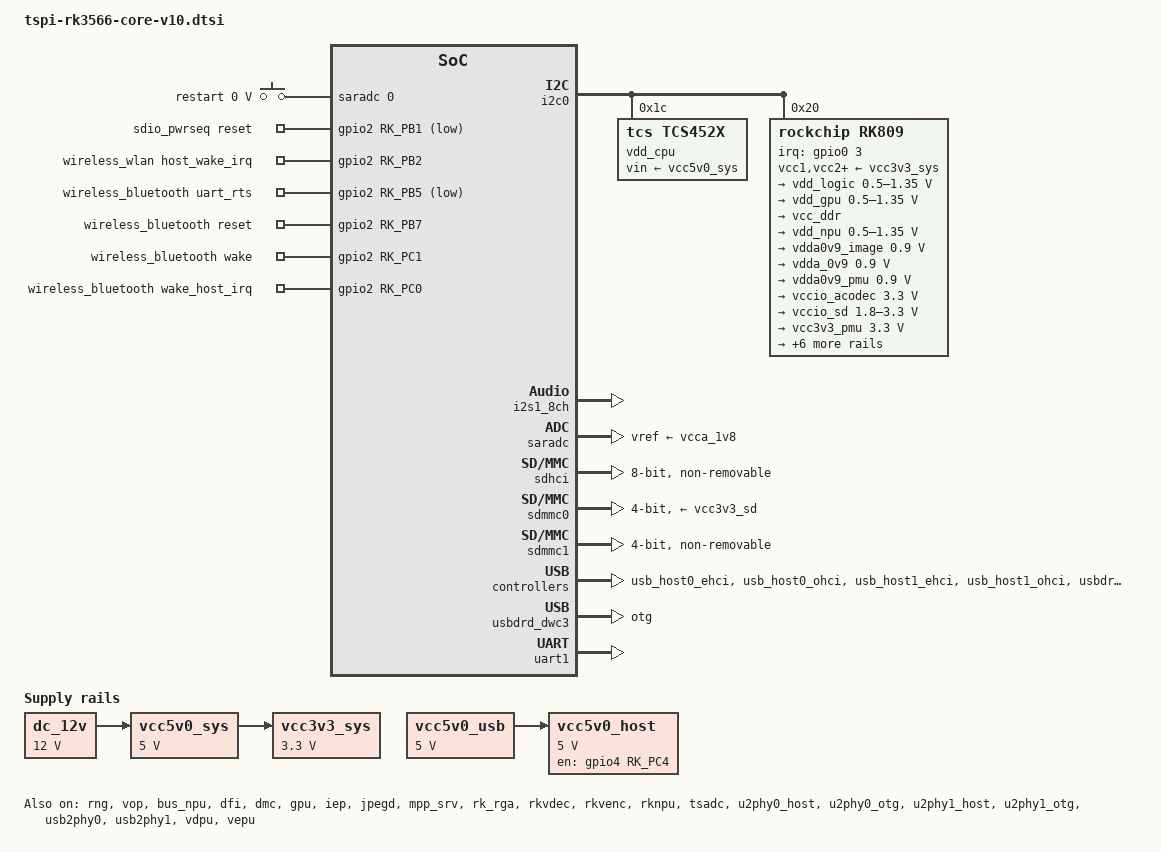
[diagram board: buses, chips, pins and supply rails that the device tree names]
// SPDX-License-Identifier: (GPL-2.0+ OR MIT)
/*
 * Copyright (c) 2020 Rockchip Electronics Co., Ltd.
 *
 */

/*********************************************************************
 *           立创开发板不靠卖板赚钱，以培养中国工程师为己任  
 *         泰山派软硬件资料与相关扩展板软硬件资料官网全部开源
 *                      开发板官网：www.lckfb.com            
 *                     立创论坛：oshwhub.com/forum           
 *            关注B站：【立创开发板】，掌握我们的最新动态！  
 *********************************************************************
 * 文件名：tspi-rk3566-core-v10.dtsi
 * 描述：
 * 更新:
 * 时间          作者           联系           说明
 * 2023-07-21   吴才成    1378913492@qq.com   v1.0.0
 *********************************************************************/
 
 
#include <dt-bindings/gpio/gpio.h>
#include <dt-bindings/pwm/pwm.h>
#include <dt-bindings/pinctrl/rockchip.h>
#include <dt-bindings/input/rk-input.h>
#include <dt-bindings/display/drm_mipi_dsi.h>
#include <dt-bindings/sensor-dev.h>

/ {
	chosen: chosen {
		bootargs = "earlycon=uart8250,mmio32,0xfe660000 console=ttyFIQ0 root=PARTUUID=614e0000-0000 rw rootwait";
	};

	fiq-debugger {
		compatible = "rockchip,fiq-debugger";
		rockchip,serial-id = <2>;
		rockchip,wake-irq = <0>;
		/* If enable uart uses irq instead of fiq */
		rockchip,irq-mode-enable = <1>;
		rockchip,baudrate = <1500000>;  /* Only 115200 and 1500000 */
		interrupts = <GIC_SPI 252 IRQ_TYPE_LEVEL_LOW>;
		pinctrl-names = "default";
		pinctrl-0 = <&uart2m0_xfer>;
		status = "okay";
	};

	debug: debug@fd904000 {
		compatible = "rockchip,debug";
		reg = <0x0 0xfd904000 0x0 0x1000>,
			<0x0 0xfd905000 0x0 0x1000>,
			<0x0 0xfd906000 0x0 0x1000>,
			<0x0 0xfd907000 0x0 0x1000>;
	};

	cspmu: cspmu@fd90c000 {
		compatible = "rockchip,cspmu";
		reg = <0x0 0xfd90c000 0x0 0x1000>,
			<0x0 0xfd90d000 0x0 0x1000>,
			<0x0 0xfd90e000 0x0 0x1000>,
			<0x0 0xfd90f000 0x0 0x1000>;
	};

	adc_keys: adc-keys {
		compatible = "adc-keys";
		io-channels = <&saradc 0>;
		io-channel-names = "buttons";
		keyup-threshold-microvolt = <1800000>;
		poll-interval = <100>;

		restart-key {
			label = "restart";
			linux,code = <KEY_RESTART>;
			press-threshold-microvolt = <108>;
		};
	};

	audiopwmout_diff: audiopwmout-diff {
		status = "disabled";
		compatible = "simple-audio-card";
		simple-audio-card,format = "i2s";
		simple-audio-card,name = "rockchip,audiopwmout-diff";
		simple-audio-card,mclk-fs = <256>;
		simple-audio-card,bitclock-master = <&master>;
		simple-audio-card,frame-master = <&master>;
		simple-audio-card,cpu {
			sound-dai = <&i2s3_2ch>;
		};
		master: simple-audio-card,codec {
			sound-dai = <&dig_acodec>;
		};
	};

	dc_12v: dc-12v {
		compatible = "regulator-fixed";
		regulator-name = "dc_12v";
		regulator-always-on;
		regulator-boot-on;
		regulator-min-microvolt = <12000000>;
		regulator-max-microvolt = <12000000>;
	};

	pdmics: dummy-codec {
		status = "disabled";
		compatible = "rockchip,dummy-codec";
		#sound-dai-cells = <0>;
	};

	pdm_mic_array: pdm-mic-array {
		status = "disabled";
		compatible = "simple-audio-card";
		simple-audio-card,name = "rockchip,pdm-mic-array";
		simple-audio-card,cpu {
			sound-dai = <&pdm>;
		};
		simple-audio-card,codec {
			sound-dai = <&pdmics>;
		};
	};

	rk809_sound: rk809-sound {
		status = "okay";
		compatible = "simple-audio-card";
		simple-audio-card,format = "i2s";
		simple-audio-card,name = "rockchip,rk809-codec";
		simple-audio-card,mclk-fs = <256>;

		simple-audio-card,cpu {
			sound-dai = <&i2s1_8ch>;
		};
		simple-audio-card,codec {
			sound-dai = <&rk809_codec>;
		};
	};

	spdif-sound {
		status = "disabled";
		compatible = "simple-audio-card";
		simple-audio-card,name = "ROCKCHIP,SPDIF";
		simple-audio-card,cpu {
				sound-dai = <&spdif_8ch>;
		};
		simple-audio-card,codec {
				sound-dai = <&spdif_out>;
		};
	};

	spdif_out: spdif-out {
			status = "disabled";
			compatible = "linux,spdif-dit";
			#sound-dai-cells = <0>;
	};

	vad_sound: vad-sound {
		status = "disabled";
		compatible = "rockchip,multicodecs-card";
		rockchip,card-name = "rockchip,rk3568-vad";
		rockchip,cpu = <&i2s1_8ch>;
		rockchip,codec = <&rk809_codec>, <&vad>;
	};

	vcc3v3_sys: vcc3v3-sys {
		compatible = "regulator-fixed";
		regulator-name = "vcc3v3_sys";
		regulator-always-on;
		regulator-boot-on;
		regulator-min-microvolt = <3300000>;
		regulator-max-microvolt = <3300000>;
		vin-supply = <&vcc5v0_sys>;
	};

	vcc5v0_sys: vcc5v0-sys {
		compatible = "regulator-fixed";
		regulator-name = "vcc5v0_sys";
		regulator-always-on;
		regulator-boot-on;
		regulator-min-microvolt = <5000000>;
		regulator-max-microvolt = <5000000>;
		vin-supply = <&dc_12v>;
	};

	vcc5v0_usb: vcc5v0-usb {
		compatible = "regulator-fixed";
		regulator-name = "vcc5v0_usb";
		regulator-always-on;
		regulator-boot-on;
		regulator-min-microvolt = <5000000>;
		regulator-max-microvolt = <5000000>;
	};

	vcc5v0_host: vcc5v0-host-regulator {
		compatible = "regulator-fixed";
		regulator-name = "vcc5v0_host";
		regulator-boot-on;
		regulator-always-on;
		regulator-min-microvolt = <5000000>;
		regulator-max-microvolt = <5000000>;
		enable-active-high;
		gpio = <&gpio4 RK_PC4 GPIO_ACTIVE_HIGH>;
		vin-supply = <&vcc5v0_usb>;
		pinctrl-names = "default";
		pinctrl-0 = <&vcc5v0_host_en>;
	};

	sdio_pwrseq: sdio-pwrseq {
		compatible = "mmc-pwrseq-simple";
		clocks = <&rk809 1>;
		clock-names = "ext_clock";
		pinctrl-names = "default";
		pinctrl-0 = <&wifi_enable_h>;

		/*
		 * On the module itself this is one of these (depending
		 * on the actual card populated):
		 * - SDIO_RESET_L_WL_REG_ON
		 * - PDN (power down when low)
		 */
		post-power-on-delay-ms = <200>;
		reset-gpios = <&gpio2 RK_PB1 GPIO_ACTIVE_LOW>;
	};

	wireless_wlan: wireless-wlan {
		compatible = "wlan-platdata";
		pinctrl-names = "default";
		pinctrl-0 = <&wifi_host_wake_irq>;
		WIFI,host_wake_irq = <&gpio2 RK_PB2 GPIO_ACTIVE_HIGH>;
		rockchip,grf = <&grf>;
		wifi_chip_type = "ap6212";
		status = "okay";
	};

	wireless_bluetooth: wireless-bluetooth {
		compatible = "bluetooth-platdata";
		clocks = <&rk809 1>;
		clock-names = "ext_clock";
		//wifi-bt-power-toggle;
		uart_rts_gpios = <&gpio2 RK_PB5 GPIO_ACTIVE_LOW>;
		pinctrl-names = "default", "rts_gpio";
		pinctrl-0 = <&uart1m0_rtsn>;
		pinctrl-1 = <&uart1_gpios>;
		BT,reset_gpio    = <&gpio2 RK_PB7 GPIO_ACTIVE_HIGH>;
		BT,wake_gpio     = <&gpio2 RK_PC1 GPIO_ACTIVE_HIGH>;
		BT,wake_host_irq = <&gpio2 RK_PC0 GPIO_ACTIVE_HIGH>;
		status = "okay";
	};

	test-power {
		status = "okay";
	};
};

&reserved_memory {
	ramoops: ramoops@110000 {
		compatible = "ramoops";
		reg = <0x0 0x110000 0x0 0xf0000>;
		record-size = <0x20000>;
		console-size = <0x80000>;
		ftrace-size = <0x00000>;
		pmsg-size = <0x50000>;
	};
};

&rng {
	status = "okay";
};


&rockchip_suspend {
	status = "okay";
};

&vop {
	disable-win-move;
};

&vp0 {
	cursor-win-id = <ROCKCHIP_VOP2_CLUSTER0>;
};

&vp1 {
	cursor-win-id = <ROCKCHIP_VOP2_CLUSTER1>;
};

//npu总线
&bus_npu {
	bus-supply = <&vdd_logic>;
	pvtm-supply = <&vdd_cpu>;
	status = "okay";
};

//can0接口
&can0 {
	assigned-clocks = <&cru CLK_CAN0>;
	assigned-clock-rates = <150000000>;
	pinctrl-names = "default";
	pinctrl-0 = <&can0m1_pins>;
	status = "disabled";
};
//can1接口
&can1 {
	assigned-clocks = <&cru CLK_CAN1>;
	assigned-clock-rates = <150000000>;
	pinctrl-names = "default";
	pinctrl-0 = <&can1m1_pins>;
	status = "disabled";
};
//can2接口
&can2 {
	assigned-clocks = <&cru CLK_CAN2>;
	assigned-clock-rates = <150000000>;
	pinctrl-names = "default";
	pinctrl-0 = <&can2m1_pins>;
	status = "disabled";
};

//cpu0
&cpu0 {
	cpu-supply = <&vdd_cpu>;
};

//dram phy接口
&dfi {
	status = "okay";
};

//dram内存控制
&dmc {
	center-supply = <&vdd_logic>;
	status = "okay";
};

//GPU图像处理
&gpu {
	mali-supply = <&vdd_gpu>;
	status = "okay";
};


&i2c0 {
	status = "okay";

	vdd_cpu: tcs4525@1c {
		compatible = "tcs,tcs452x";
		reg = <0x1c>;
		vin-supply = <&vcc5v0_sys>;
		regulator-compatible = "fan53555-reg";
		regulator-name = "vdd_cpu";
		regulator-min-microvolt = <712500>;
		regulator-max-microvolt = <1390000>;
		regulator-init-microvolt = <900000>;
		regulator-ramp-delay = <2300>;
		fcs,suspend-voltage-selector = <1>;
		regulator-boot-on;
		regulator-always-on;
		regulator-state-mem {
			regulator-off-in-suspend;
		};
	};

	rk809: pmic@20 {
		compatible = "rockchip,rk809";
		reg = <0x20>;
		interrupt-parent = <&gpio0>;
		interrupts = <3 IRQ_TYPE_LEVEL_LOW>;

		pinctrl-names = "default", "pmic-sleep",
				"pmic-power-off", "pmic-reset";
		pinctrl-0 = <&pmic_int>;
		pinctrl-1 = <&soc_slppin_slp>, <&rk817_slppin_slp>;
		pinctrl-2 = <&soc_slppin_gpio>, <&rk817_slppin_pwrdn>;
		pinctrl-3 = <&soc_slppin_gpio>, <&rk817_slppin_rst>;

		rockchip,system-power-controller;
		wakeup-source;
		#clock-cells = <1>;
		clock-output-names = "rk808-clkout1", "rk808-clkout2";
		//fb-inner-reg-idxs = <2>;
		/* 1: rst regs (default in codes), 0: rst the pmic */
		pmic-reset-func = <0>;
		/* not save the PMIC_POWER_EN register in uboot */
		not-save-power-en = <1>;

		vcc1-supply = <&vcc3v3_sys>;
		vcc2-supply = <&vcc3v3_sys>;
		vcc3-supply = <&vcc3v3_sys>;
		vcc4-supply = <&vcc3v3_sys>;
		vcc5-supply = <&vcc3v3_sys>;
		vcc6-supply = <&vcc3v3_sys>;
		vcc7-supply = <&vcc3v3_sys>;
		vcc8-supply = <&vcc3v3_sys>;
		vcc9-supply = <&vcc3v3_sys>;

		pwrkey {
			status = "okay";
		};

		pinctrl_rk8xx: pinctrl_rk8xx {
			gpio-controller;
			#gpio-cells = <2>;

			rk817_slppin_null: rk817_slppin_null {
				pins = "gpio_slp";
				function = "pin_fun0";
			};

			rk817_slppin_slp: rk817_slppin_slp {
				pins = "gpio_slp";
				function = "pin_fun1";
			};

			rk817_slppin_pwrdn: rk817_slppin_pwrdn {
				pins = "gpio_slp";
				function = "pin_fun2";
			};

			rk817_slppin_rst: rk817_slppin_rst {
				pins = "gpio_slp";
				function = "pin_fun3";
			};
		};

		regulators {
			vdd_logic: DCDC_REG1 {
				regulator-always-on;
				regulator-boot-on;
				regulator-min-microvolt = <500000>;
				regulator-max-microvolt = <1350000>;
				regulator-init-microvolt = <900000>;
				regulator-ramp-delay = <6001>;
				regulator-initial-mode = <0x2>;
				regulator-name = "vdd_logic";
				regulator-state-mem {
					regulator-off-in-suspend;
				};
			};

			vdd_gpu: DCDC_REG2 {
				regulator-always-on;
				regulator-boot-on;
				regulator-min-microvolt = <500000>;
				regulator-max-microvolt = <1350000>;
				regulator-init-microvolt = <900000>;
				regulator-ramp-delay = <6001>;
				regulator-initial-mode = <0x2>;
				regulator-name = "vdd_gpu";
				regulator-state-mem {
					regulator-off-in-suspend;
				};
			};

			vcc_ddr: DCDC_REG3 {
				regulator-always-on;
				regulator-boot-on;
				regulator-initial-mode = <0x2>;
				regulator-name = "vcc_ddr";
				regulator-state-mem {
					regulator-on-in-suspend;
				};
			};

			vdd_npu: DCDC_REG4 {
				regulator-always-on;
				regulator-boot-on;
				regulator-min-microvolt = <500000>;
				regulator-max-microvolt = <1350000>;
				regulator-init-microvolt = <900000>;
				regulator-ramp-delay = <6001>;
				regulator-initial-mode = <0x2>;
				regulator-name = "vdd_npu";
				regulator-state-mem {
					regulator-off-in-suspend;
				};
			};

			vdda0v9_image: LDO_REG1 {
				regulator-boot-on;
				regulator-always-on;
				regulator-min-microvolt = <900000>;
				regulator-max-microvolt = <900000>;
				regulator-name = "vdda0v9_image";
				regulator-state-mem {
					regulator-off-in-suspend;
				};
			};

			vdda_0v9: LDO_REG2 {
				regulator-always-on;
				regulator-boot-on;
				regulator-min-microvolt = <900000>;
				regulator-max-microvolt = <900000>;
				regulator-name = "vdda_0v9";
				regulator-state-mem {
					regulator-off-in-suspend;
				};
			};

			vdda0v9_pmu: LDO_REG3 {
				regulator-always-on;
				regulator-boot-on;
				regulator-min-microvolt = <900000>;
				regulator-max-microvolt = <900000>;
				regulator-name = "vdda0v9_pmu";
				regulator-state-mem {
					regulator-on-in-suspend;
					regulator-suspend-microvolt = <900000>;
				};
			};

			vccio_acodec: LDO_REG4 {
				regulator-always-on;
				regulator-boot-on;
				regulator-min-microvolt = <3300000>;
				regulator-max-microvolt = <3300000>;
				regulator-name = "vccio_acodec";
				regulator-state-mem {
					regulator-off-in-suspend;
				};
			};

			vccio_sd: LDO_REG5 {
				regulator-always-on;
				regulator-boot-on;
				regulator-min-microvolt = <1800000>;
				regulator-max-microvolt = <3300000>;
				regulator-name = "vccio_sd";
				regulator-state-mem {
					regulator-off-in-suspend;
				};
			};

			vcc3v3_pmu: LDO_REG6 {
				regulator-always-on;
				regulator-boot-on;
				regulator-min-microvolt = <3300000>;
				regulator-max-microvolt = <3300000>;
				regulator-name = "vcc3v3_pmu";
				regulator-state-mem {
					regulator-on-in-suspend;
					regulator-suspend-microvolt = <3300000>;
				};
			};

			vcca_1v8: LDO_REG7 {
				regulator-always-on;
				regulator-boot-on;
				regulator-min-microvolt = <1800000>;
				regulator-max-microvolt = <1800000>;
				regulator-name = "vcca_1v8";
				regulator-state-mem {
					regulator-off-in-suspend;
				};
			};

			vcca1v8_pmu: LDO_REG8 {
				regulator-always-on;
				regulator-boot-on;
				regulator-min-microvolt = <1800000>;
				regulator-max-microvolt = <1800000>;
				regulator-name = "vcca1v8_pmu";
				regulator-state-mem {
					regulator-on-in-suspend;
					regulator-suspend-microvolt = <1800000>;
				};
			};

			vcca1v8_image: LDO_REG9 {
				regulator-always-on;
				regulator-boot-on;
				regulator-min-microvolt = <1800000>;
				regulator-max-microvolt = <1800000>;
				regulator-name = "vcca1v8_image";
				regulator-state-mem {
					regulator-off-in-suspend;
				};
			};

			vcc_1v8: DCDC_REG5 {
				regulator-always-on;
				regulator-boot-on;
				regulator-min-microvolt = <1800000>;
				regulator-max-microvolt = <1800000>;
				regulator-name = "vcc_1v8";
				regulator-state-mem {
					regulator-off-in-suspend;
				};
			};

			vcc_3v3: SWITCH_REG1 {
				regulator-always-on;
				regulator-boot-on;
				regulator-name = "vcc_3v3";
				regulator-state-mem {
					regulator-off-in-suspend;
				};
			};

			vcc3v3_sd: SWITCH_REG2 {
				regulator-always-on;
				regulator-boot-on;
				regulator-name = "vcc3v3_sd";
				regulator-state-mem {
					regulator-off-in-suspend;
				};
			};
		};

		rk809_codec: codec {
			#sound-dai-cells = <0>;
			compatible = "rockchip,rk809-codec", "rockchip,rk817-codec";
			clocks = <&cru I2S1_MCLKOUT>;
			clock-names = "mclk";
			assigned-clocks = <&cru I2S1_MCLKOUT>, <&cru I2S1_MCLK_TX_IOE>;
			assigned-clock-rates = <12288000>;
			assigned-clock-parents = <&cru I2S1_MCLKOUT_TX>, <&cru I2S1_MCLKOUT_TX>;
			pinctrl-names = "default";
			pinctrl-0 = <&i2s1m0_mclk>;
			hp-volume = <20>;
			spk-volume = <3>;
			mic-in-differential;
			status = "okay";
		};
	};
};

&i2s1_8ch {
	status = "okay";
	rockchip,clk-trcm = <1>;
	pinctrl-names = "default";
	pinctrl-0 = <&i2s1m0_sclktx
		     &i2s1m0_lrcktx
		     &i2s1m0_sdi0
		     &i2s1m0_sdo0>;
};

//像增强处理器,锐化降噪等等
&iep {
	status = "okay";
};
//像增强处理器,内存管理单元
&iep_mmu {
	status = "okay";
};

//硬件jpeg解码
&jpegd {
	status = "okay";
};
//jpeg内存管理
&jpegd_mmu {
	status = "okay";
};

//媒体处理平台服务模块提供音视频编解码服务灯
&mpp_srv {
	status = "okay";
};

&pinctrl {
	pmic {
		pmic_int: pmic_int {
			rockchip,pins =
				<0 RK_PA3 RK_FUNC_GPIO &pcfg_pull_up>;
		};

		soc_slppin_gpio: soc_slppin_gpio {
			rockchip,pins =
				<0 RK_PA2 RK_FUNC_GPIO &pcfg_output_low_pull_down>;
		};

		soc_slppin_slp: soc_slppin_slp {
			rockchip,pins =
				<0 RK_PA2 1 &pcfg_pull_up>;
		};

		soc_slppin_rst: soc_slppin_rst {
			rockchip,pins =
				<0 RK_PA2 2 &pcfg_pull_none>;
		};
	};

	usb {
		vcc5v0_host_en: vcc5v0-host-en {
			rockchip,pins = <4 RK_PC4 RK_FUNC_GPIO &pcfg_pull_none>;
		};
	};

	sdio-pwrseq {
		wifi_enable_h: wifi-enable-h {
			rockchip,pins = <2 RK_PB1 RK_FUNC_GPIO &pcfg_pull_none>;
		};
	};

	wireless-wlan {
		wifi_host_wake_irq: wifi-host-wake-irq {
			rockchip,pins = <2 RK_PB2 RK_FUNC_GPIO &pcfg_pull_down>;
		};
	};

	wireless-bluetooth {
		uart1_gpios: uart1-gpios {
			rockchip,pins = <2 RK_PB5 RK_FUNC_GPIO &pcfg_pull_none>;
		};
	};
};

 /*
  * There are 10 independent IO domains in RK3566/RK3568, including PMUIO[0:2] and VCCIO[1:7].
  * 1/ PMUIO0 and PMUIO1 are fixed-level power domains which cannot be configured;
  * 2/ PMUIO2 and VCCIO1,VCCIO[3:7] domains require that their hardware power supply voltages
  *    must be consistent with the software configuration correspondingly
  *	a/ When the hardware IO level is connected to 1.8V, the software voltage configuration
  *	   should also be configured to 1.8V accordingly;
  *	b/ When the hardware IO level is connected to 3.3V, the software voltage configuration
  *	   should also be configured to 3.3V accordingly;
  * 3/ VCCIO2 voltage control selection (0xFDC20140)
  *	BIT[0]: 0x0: from GPIO_0A7 (default)
  *	BIT[0]: 0x1: from GRF
  *    Default is determined by Pin FLASH_VOL_SEL/GPIO0_A7:
  *	L:VCCIO2 must supply 3.3V
  *	H:VCCIO2 must supply 1.8V
  */

//电源管理非常重要，搞不好会烧硬件的，不要乱配置哟，需要根据原理图来配。
&pmu_io_domains {
	status = "okay";
	pmuio2-supply = <&vcc3v3_pmu>;
	vccio1-supply = <&vccio_acodec>;
	vccio3-supply = <&vccio_sd>;
	vccio4-supply = <&vcc_1v8>;//wucaicheng wifi VCCIO_WL 0¦¸=1V8
	vccio5-supply = <&vcc_3v3>;
	vccio6-supply = <&vcc_1v8>;//wucaicheng PHY  0¦¸=1V8
	vccio7-supply = <&vcc_3v3>;
};

//图像处理加速器
&rk_rga {
	status = "okay";
};

//音视频解码器
&rkvdec {
	status = "okay";
};

//音视频解码器内存管理
&rkvdec_mmu {
	status = "okay";
};

//音视频编码器
&rkvenc {
	venc-supply = <&vdd_logic>;
	status = "okay";
};

//音视频编码器内存管理
&rkvenc_mmu {
	status = "okay";
};

//神经网络处理
&rknpu {
	rknpu-supply = <&vdd_npu>;
	status = "okay";
};

//神经网络内存管理
&rknpu_mmu {
	status = "okay";
};

//ADC
&saradc {
	status = "okay";
	vref-supply = <&vcca_1v8>;
};

//用于EMMC通信
&sdhci {
	bus-width = <8>;
	supports-emmc;
	non-removable;
	max-frequency = <200000000>;
	status = "okay";
};

//NAND闪存控制器
&nandc0 {
	#address-cells = <1>;
	#size-cells = <0>;
	status = "disabled";

	nand@0 {
		reg = <0>;
		nand-bus-width = <8>;
		nand-ecc-mode = "hw";
		nand-ecc-strength = <16>;
		nand-ecc-step-size = <1024>;
	};
};

//SPi FLSH
&sfc {
	status = "disabled";
};

//TF卡
&sdmmc0 {
	max-frequency = <150000000>;
	supports-sd;
	bus-width = <4>;
	cap-mmc-highspeed;
	cap-sd-highspeed;
	disable-wp;
	sd-uhs-sdr104;
	vmmc-supply = <&vcc3v3_sd>;
	vqmmc-supply = <&vccio_sd>;
	pinctrl-names = "default";
	pinctrl-0 = <&sdmmc0_bus4 &sdmmc0_clk &sdmmc0_cmd &sdmmc0_det>;
	status = "okay";
};

&sdmmc1 {
	max-frequency = <150000000>;
	supports-sdio;
	bus-width = <4>;
	disable-wp;
	cap-sd-highspeed;
	cap-sdio-irq;
	keep-power-in-suspend;
	mmc-pwrseq = <&sdio_pwrseq>;
	non-removable;
	pinctrl-names = "default";
	pinctrl-0 = <&sdmmc1_bus4 &sdmmc1_cmd &sdmmc1_clk>;
	sd-uhs-sdr104;
	status = "okay";
};

&sdmmc2 {
	status = "disabled";
};

//音频输出接口
&spdif_8ch {
	status = "disabled";
};

//温度监测
&tsadc {
	status = "okay";
};

//USB架构大概的样子是
//CPU<---->usb controler<---->usb phy<--数据线-->usb device
//原理图中一个phy可能会对应多个usb，下面的命名u2表示usb2.0，phy0
&u2phy0_host {
	phy-supply = <&vcc5v0_host>;
	status = "okay";
};

&u2phy0_otg {
	status = "okay";
};

&u2phy1_host {
	phy-supply = <&vcc5v0_host>;
	status = "okay";
};

&u2phy1_otg {
	phy-supply = <&vcc5v0_host>;
	status = "okay";
};

&usb2phy0 {
	status = "okay";
};

&usb2phy1 {
	status = "okay";
};

//ehci支持usb2.0
&usb_host0_ehci {
	status = "okay";
};

//ohci支持usb1.0和usb1.1
&usb_host0_ohci {
	status = "okay";
};

&usb_host1_ehci {
	status = "okay";
};

&usb_host1_ohci {
	status = "okay";
};

//typec or typeA
&usbdrd_dwc3 {
	dr_mode = "otg";
	extcon = <&usb2phy0>;
	status = "okay";
};

//hostusb3.0
&usbdrd30 {
	status = "okay";
};

&usbhost_dwc3 {
	status = "okay";
};

&usbhost30 {
	status = "okay";
};

//音活动检测模块
&vad {
	rockchip,audio-src = <&i2s1_8ch>;
	rockchip,buffer-time-ms = <128>;
	rockchip,det-channel = <0>;
	rockchip,mode = <0>;
};

//视频解码硬件加速H.26X等
&vdpu {
	status = "okay";
};

//视频解码器内存管理单元
&vdpu_mmu {
	status = "okay";
};

//视频编码硬件加速H.26X等
&vepu {
	status = "okay";
};

//视频编码器内存管理单元
&vepu_mmu {
	status = "okay";
};

//VOP是视频输出处理器
&vop {
	status = "okay";
	assigned-clocks = <&cru DCLK_VOP0>, <&cru DCLK_VOP1>;
	assigned-clock-parents = <&pmucru PLL_HPLL>, <&cru PLL_VPLL>;
};

//v视频输出处理器的内存管理单元
&vop_mmu {
	status = "okay";
};

//串口一，目前用在蓝牙上了
&uart1 {
	status = "okay";
	pinctrl-names = "default";
	pinctrl-0 = <&uart1m0_xfer &uart1m0_ctsn>;
};
